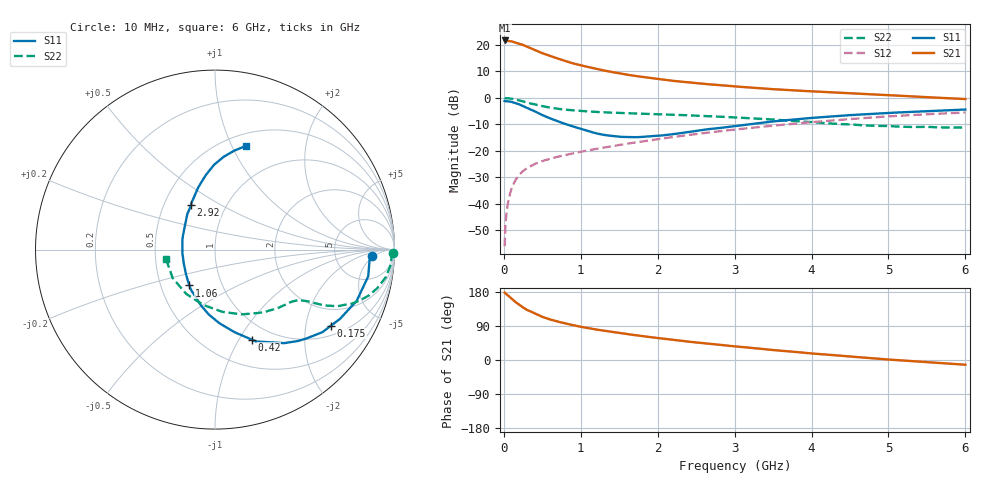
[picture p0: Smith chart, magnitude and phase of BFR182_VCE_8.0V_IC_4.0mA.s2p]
! Infineon Technologies  Discrete & RF Semiconductors
! BFR182
! VCE =  8.0 V,  IC =  4.0 mA
! Common Emitter S-Parameters:  Nov 2015
# GHz  S  MA  R  50
!  f  S11  S21  S12  S22
! GHz  MAG  ANG  MAG  ANG  MAG  ANG  MAG  ANG
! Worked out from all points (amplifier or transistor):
!   210 points, 10 MHz to 6 GHz, reference 50 ohm
!   highest |S21| = 21.6 dB at 10 MHz (marker M1)
!   |S21| within 3 dB of that: start of sweep to 354.3 MHz
!   unconditionally stable (mu >= 1): 1.222 GHz to 3.033 GHz
!   at 185 MHz: K = 0.28, MSG = 25.1 dB, |S12| = -29.6 dB
!   at 1.52 GHz: K = 1.05, MAG = 12.1 dB, |S12| = -17.7 dB
!   at 6 GHz: K = 0.88, MSG = 2.5 dB, |S12| = -5.5 dB
!   S11 on the Smith chart (normalised r, x): 10 MHz: 14, -4; 175 MHz: 1.32, -2.79; 420 MHz: 0.80, -1.13; 1.06 GHz: 0.70, -0.30; 2.92 GHz: 0.68, +0.37; 6 GHz: 0.63, +1.13
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0.01  0.8728 -2.2  12.06 177.9  0.0016 87.1  0.9913 -1.0
0.02  0.8631 -4.0  11.88 175.9  0.0037 88.4  0.984 -2.0
0.04  0.8643 -7.9  11.81 172.6  0.0077 85.1  0.9839 -3.8
0.1  0.8394 -19.9  11.63 162.2  0.0193 79.8  0.9638 -9.2
0.15  0.7962 -29.0  11.01 153.1  0.0278 73.5  0.9289 -13.4
0.175  0.7732 -33.2  10.72 149.6  0.0316 72.0  0.9113 -15.0
0.24  0.7079 -44.6  10.02 140.0  0.0404 67.7  0.8618 -18.9
0.3  0.6483 -53.5  9.244 132.3  0.0472 65.1  0.8146 -21.8
0.42  0.5415 -67.8  7.77 121.3  0.0581 61.0  0.7406 -25.1
0.5  0.4734 -76.6  6.943 113.9  0.0641 59.1  0.6974 -26.6
0.6  0.4109 -86.6  6.17 107.0  0.071 58.0  0.6533 -27.7
0.68  0.3715 -93.6  5.635 102.5  0.0762 58.1  0.6277 -28.3
0.8  0.3208 -104.1  4.923 96.2  0.0836 57.9  0.598 -28.9
1.02  0.2559 -122.3  4.035 87.0  0.0973 58.3  0.5637 -30.2
1.06  0.2455 -125.5  3.915 85.5  0.0998 58.5  0.5586 -30.5
1.4  0.1918 -155.0  3.072 74.2  0.1216 59.8  0.5262 -33.0
2.02  0.1939 157.5  2.251 57.6  0.1681 59.6  0.4908 -39.7
2.92  0.2832 118.2  1.68 37.7  0.2446 55.6  0.4333 -54.1
3.1  0.3051 113.7  1.602 34.2  0.261 54.2  0.4186 -57.9
4.1  0.4282 95.7  1.302 15.8  0.3576 45.3  0.3398 -86.6
5.1  0.5276 83.4  1.104 -0.1  0.4557 33.5  0.2886 -127.3
6  0.6018 73.5  0.949 -12.5  0.5282 20.7  0.2776 -168.6
